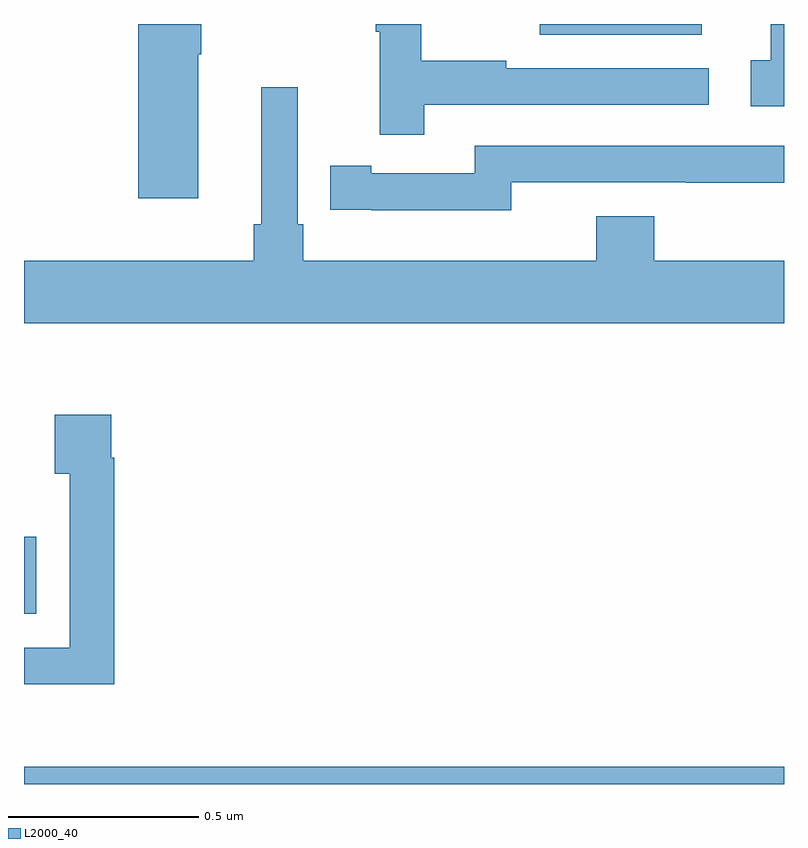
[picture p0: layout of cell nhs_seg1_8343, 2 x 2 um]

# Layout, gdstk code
import gdstk
lib = gdstk.Library(unit=1e-6, precision=1e-09)
def R(c, l, rs):  # rectangles x0, y0, x1, y1
    for r in rs: c.add(gdstk.rectangle(r[:2], r[2:], *l))
def P(c, l, *ps):  # polygons
    for p in ps: c.add(gdstk.Polygon(p, *l))
L2000_40 = (2000, 40)

nhs_seg1_8343 = lib.new_cell('nhs_seg1_8343')
R(nhs_seg1_8343, L2000_40, [(215,537.199,217,537.244), (215,537.647,215.032,537.85), (216.357,539.171,216.784,539.199)])
P(nhs_seg1_8343, L2000_40, [(216.053,538.986),(216.802,538.986),(216.802,539.082),(216.269,539.082),(216.269,539.102),(216.046,539.102),(216.046,539.199),(215.925,539.199),(215.925,539.179),(215.936,539.179),(215.936,538.908),(216.053,538.908)],
  [(215.458,539.119),(215.466,539.119),(215.466,539.199),(215.3,539.199),(215.3,538.74),(215.458,538.74)],
  [(217,539.199),(216.965,539.199),(216.965,539.103),(216.912,539.103),(216.912,538.983),(217,538.983)],
  [(217,538.576),(216.659,538.576),(216.659,538.693),(216.506,538.693),(216.506,538.576),(215.735,538.576),(215.735,538.672),(215.721,538.672),(215.721,539.032),(215.624,539.032),(215.624,538.672),(215.605,538.672),(215.605,538.576),(215,538.576),(215,538.412),(217,538.412)],
  [(216.282,538.782),(216.742,538.782),(216.742,538.781),(217,538.781),(217,538.878),(216.186,538.878),(216.186,538.806),(215.914,538.806),(215.914,538.826),(215.806,538.826),(215.806,538.71),(215.914,538.71),(215.914,538.709),(216.282,538.709)],
  [(215.237,538.058),(215.23,538.058),(215.23,538.171),(215.081,538.171),(215.081,538.015),(215.121,538.015),(215.121,537.558),(215,537.558),(215,537.461),(215.237,537.461)])

lib.write_gds('nhs_seg1_8343.gds')
